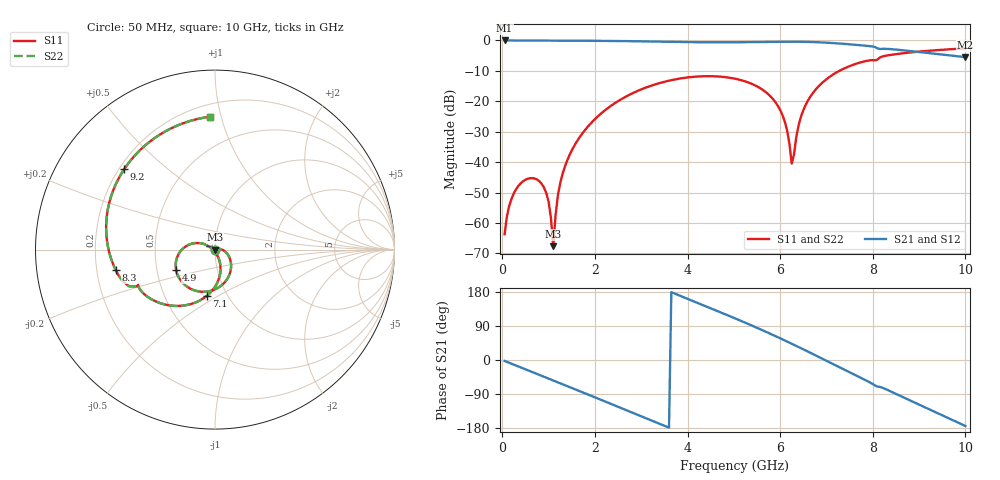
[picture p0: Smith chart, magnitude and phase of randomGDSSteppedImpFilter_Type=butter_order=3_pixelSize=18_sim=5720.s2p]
! freq	dB(S11)	phase(S11)	dB(S12)	phase(S12)
!  dB(S21)	phase(S21)	dB(S22)	phase(S22)
!S-par simulation data
#  GHz  S  DB  R 50
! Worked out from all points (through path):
!   200 points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, 50 MHz to 10 GHz, reference 50 ohm
!   highest |S21| = -0.01 dB at 50 MHz (marker M1); lowest = -5.5 dB at 10 GHz (marker M2)
!   group delay of S21, straight-line fit = 149 ps
!   lowest |S11| = -67.6 dB at 1.1 GHz (marker M3), VSWR 1.00, Z = 50 + j0.0375 ohm
!   |S11| at or under -10 dB: start of sweep to 7.278 GHz
!   |S22| runs from -66.8 to -2.6 dB; largest |S21 - S12| = 0
!   S11 on the Smith chart (normalised r, x): 50 MHz: 1.00, -0.00; 4.9 GHz: 0.63, -0.15; 7.1 GHz: 0.80, -0.44; 8.3 GHz: 0.28, -0.09; 9.2 GHz: 0.22, +0.36; 10 GHz: 0.28, +0.92
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0.05  -63.67 -85.2  -0.01 -2.5  -0.01 -2.5  -63.67 -85.2
0.25  -50.21 -100.3  -0.03 -12.3  -0.03 -12.3  -50.21 -100.4
0.7  -45.38 -123.1  -0.04 -34.4  -0.04 -34.4  -45.38 -123.4
0.95  -50.16 -137.2  -0.05 -46.6  -0.05 -46.6  -50.16 -138.2
1.1  -67.60 116.0  -0.06 -54.0  -0.06 -54.0  -66.81 120.1
1.2  -50.95 37.7  -0.07 -58.9  -0.07 -58.9  -50.92 39.3
1.3  -43.92 30.3  -0.07 -63.8  -0.07 -63.8  -43.91 31.1
1.75  -30.14 5.8  -0.10 -86.1  -0.10 -86.1  -30.14 6.1
2.5  -19.94 -33.0  -0.19 -123.4  -0.19 -123.4  -19.94 -32.9
3.4  -13.99 -78.2  -0.40 -168.6  -0.40 -168.6  -13.99 -78.2
4.9  -12.24 -152.3  -0.61 116.4  -0.61 116.4  -12.24 -152.5
5.05  -12.65 -159.8  -0.60 108.7  -0.60 108.7  -12.66 -160.0
5.95  -21.49 155.8  -0.43 60.2  -0.43 60.2  -21.50 155.1
6.15  -29.56 153.6  -0.41 48.7  -0.41 48.7  -29.63 151.8
6.25  -40.48 -163.0  -0.41 42.9  -0.41 42.9  -41.40 -166.2
6.45  -25.02 -67.8  -0.44 31.1  -0.44 31.1  -25.05 -66.7
6.7  -17.42 -77.6  -0.53 16.1  -0.53 16.1  -17.42 -77.2
7.1  -11.62 -100.2  -0.82 -8.1  -0.82 -8.1  -11.63 -100.0
8.3  -4.96 -168.4  -2.77 -78.0  -2.77 -78.0  -4.96 -168.4
8.35  -4.84 -171.6  -2.81 -80.9  -2.81 -80.9  -4.84 -171.6
9.2  -3.40 138.6  -4.13 -128.9  -4.13 -128.9  -3.40 138.6
10  -2.61 92.2  -5.49 -174.1  -5.49 -174.1  -2.61 92.2
